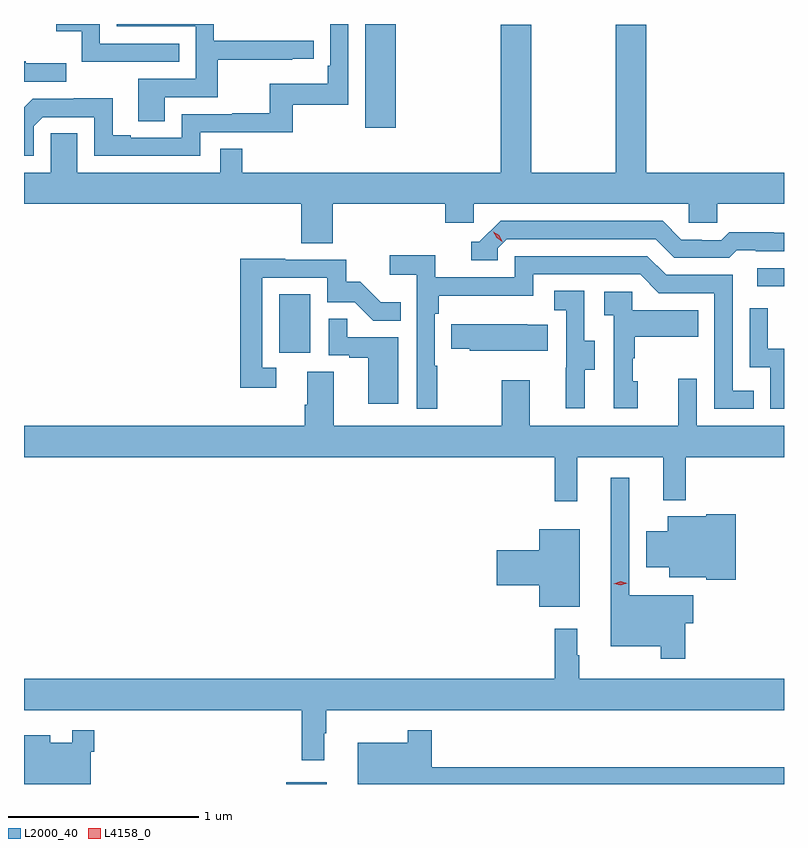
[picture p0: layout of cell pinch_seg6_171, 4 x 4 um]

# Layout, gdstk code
import gdstk
lib = gdstk.Library(unit=1e-6, precision=1e-09)
def R(c, l, rs):  # rectangles x0, y0, x1, y1
    for r in rs: c.add(gdstk.rectangle(r[:2], r[2:], *l))
def P(c, l, *ps):  # polygons
    for p in ps: c.add(gdstk.Polygon(p, *l))
L2000_40 = (2000, 40)
L4158_0 = (4158, 0)

pinch_seg6_171 = lib.new_cell('pinch_seg6_171')
R(pinch_seg6_171, L2000_40, [(1067.786,921.639,1068.001,921.649), (1067.75,923.91,1067.914,924.217), (1070.265,924.258,1070.407,924.354), (1068.203,925.092,1068.364,925.639)])
P(pinch_seg6_171, L2000_40, [(1066.458,925.101),(1066.506,925.149),(1066.776,925.149),(1066.776,924.945),(1067.334,924.945),(1067.334,925.068),(1067.821,925.068),(1067.821,925.215),(1068.114,925.215),(1068.114,925.639),(1068.018,925.639),(1068.018,925.42),(1068.005,925.42),(1068.005,925.324),(1067.7,925.324),(1067.7,925.169),(1067.503,925.169),(1067.503,925.164),(1067.238,925.164),(1067.238,925.041),(1066.969,925.041),(1066.969,925.054),(1066.873,925.054),(1066.873,925.247),(1066.668,925.247),(1066.668,925.245),(1066.452,925.245),(1066.407,925.2),(1066.407,924.945),(1066.458,924.945)],
  [(1067.149,925.254),(1067.426,925.254),(1067.426,925.45),(1067.819,925.45),(1067.819,925.455),(1067.932,925.455),(1067.932,925.551),(1067.406,925.551),(1067.406,925.639),(1066.894,925.639),(1066.894,925.626),(1067.31,925.626),(1067.31,925.35),(1067.009,925.35),(1067.009,925.126),(1067.149,925.126)],
  [(1067.225,925.536),(1066.806,925.536),(1066.806,925.639),(1066.577,925.639),(1066.577,925.601),(1066.71,925.601),(1066.71,925.44),(1067.225,925.44)],
  [(1068.032,924.692),(1068.623,924.692),(1068.623,924.594),(1068.774,924.594),(1068.774,924.692),(1069.905,924.692),(1069.905,924.594),(1070.055,924.594),(1070.055,924.692),(1070.407,924.692),(1070.407,924.856),(1069.682,924.856),(1069.682,925.636),(1069.522,925.636),(1069.522,924.856),(1069.077,924.856),(1069.077,925.636),(1068.917,925.636),(1068.917,924.856),(1067.555,924.856),(1067.555,924.983),(1067.439,924.983),(1067.439,924.856),(1066.687,924.856),(1066.687,925.064),(1066.548,925.064),(1066.548,924.856),(1066.407,924.856),(1066.407,924.692),(1067.867,924.692),(1067.867,924.484),(1068.032,924.484)],
  [(1066.63,925.432),(1066.417,925.432),(1066.417,925.444),(1066.407,925.444),(1066.407,925.335),(1066.63,925.335)],
  [(1068.9,924.459),(1068.948,924.507),(1069.731,924.507),(1069.83,924.408),(1070.119,924.408),(1070.158,924.447),(1070.257,924.447),(1070.257,924.444),(1070.407,924.444),(1070.407,924.541),(1070.352,924.541),(1070.352,924.544),(1070.119,924.544),(1070.077,924.501),(1069.974,924.501),(1069.974,924.504),(1069.867,924.504),(1069.768,924.603),(1068.915,924.603),(1068.804,924.492),(1068.761,924.492),(1068.761,924.396),(1068.9,924.396)],
  [(1068.583,923.84),(1068.57,923.84),(1068.57,924.113),(1068.59,924.113),(1068.59,924.209),(1069.086,924.209),(1069.086,924.321),(1069.65,924.321),(1069.749,924.222),(1070.04,924.222),(1070.04,923.613),(1070.249,923.613),(1070.249,923.709),(1070.136,923.709),(1070.136,924.318),(1069.786,924.318),(1069.687,924.417),(1068.99,924.417),(1068.99,924.306),(1068.572,924.306),(1068.572,924.422),(1068.333,924.422),(1068.333,924.32),(1068.474,924.32),(1068.474,923.613),(1068.583,923.613)],
  [(1067.734,923.829),(1067.661,923.829),(1067.661,924.303),(1068.003,924.303),(1068.003,924.174),(1068.147,924.174),(1068.245,924.076),(1068.389,924.076),(1068.389,924.175),(1068.285,924.175),(1068.178,924.282),(1068.102,924.282),(1068.102,924.399),(1067.783,924.399),(1067.783,924.404),(1067.545,924.404),(1067.545,923.724),(1067.734,923.724)],
  [(1069.357,923.818),(1069.411,923.818),(1069.411,923.973),(1069.356,923.973),(1069.356,924.236),(1069.197,924.236),(1069.197,924.133),(1069.26,924.133),(1069.26,923.829),(1069.259,923.829),(1069.259,923.616),(1069.357,923.616)],
  [(1069.636,923.76),(1069.611,923.76),(1069.611,923.879),(1069.621,923.879),(1069.621,923.993),(1069.955,923.993),(1069.955,924.133),(1069.608,924.133),(1069.608,924.231),(1069.461,924.231),(1069.461,924.107),(1069.512,924.107),(1069.512,923.616),(1069.636,923.616)],
  [(1070.407,923.93),(1070.322,923.93),(1070.322,924.142),(1070.226,924.142),(1070.226,923.832),(1070.334,923.832),(1070.334,923.613),(1070.407,923.613)],
  [(1068.376,923.991),(1068.107,923.991),(1068.107,924.089),(1068.012,924.089),(1068.012,923.895),(1068.119,923.895),(1068.119,923.883),(1068.218,923.883),(1068.218,923.64),(1068.376,923.64)],
  [(1069.163,924.055),(1069.055,924.055),(1069.055,924.058),(1068.655,924.058),(1068.655,923.929),(1068.753,923.929),(1068.753,923.918),(1069.163,923.918)],
  [(1069.319,923.36),(1069.772,923.36),(1069.772,923.132),(1069.889,923.132),(1069.889,923.36),(1070.407,923.36),(1070.407,923.524),(1069.947,923.524),(1069.947,923.773),(1069.85,923.773),(1069.85,923.524),(1069.069,923.524),(1069.069,923.764),(1068.922,923.764),(1068.922,923.524),(1068.037,923.524),(1068.037,923.81),(1067.897,923.81),(1067.897,923.636),(1067.885,923.636),(1067.885,923.524),(1066.407,923.524),(1066.407,923.36),(1069.201,923.36),(1069.201,923.127),(1069.319,923.127)],
  [(1069.886,922.486),(1069.93,922.486),(1069.93,922.633),(1069.593,922.633),(1069.593,923.251),(1069.496,923.251),(1069.496,922.364),(1069.758,922.364),(1069.758,922.299),(1069.886,922.299)],
  [(1070.152,923.059),(1069.998,923.059),(1069.998,923.047),(1069.796,923.047),(1069.796,922.969),(1069.682,922.969),(1069.682,922.781),(1069.802,922.781),(1069.802,922.727),(1069.998,922.727),(1069.998,922.715),(1070.152,922.715)],
  [(1069.333,922.981),(1069.118,922.981),(1069.118,922.868),(1068.894,922.868),(1068.894,922.685),(1069.118,922.685),(1069.118,922.571),(1069.333,922.571)],
  [(1067.986,921.905),(1067.998,921.905),(1067.998,922.028),(1070.407,922.028),(1070.407,922.192),(1069.33,922.192),(1069.33,922.316),(1069.318,922.316),(1069.318,922.456),(1069.201,922.456),(1069.201,922.192),(1066.407,922.192),(1066.407,922.028),(1067.869,922.028),(1067.869,921.765),(1067.986,921.765)],
  [(1070.407,921.727),(1068.554,921.727),(1068.554,921.922),(1068.426,921.922),(1068.426,921.856),(1068.164,921.856),(1068.164,921.639),(1070.407,921.639)],
  [(1066.758,921.809),(1066.778,921.809),(1066.778,921.922),(1066.662,921.922),(1066.662,921.856),(1066.546,921.856),(1066.546,921.895),(1066.407,921.895),(1066.407,921.639),(1066.758,921.639)])
P(pinch_seg6_171, L4158_0, [(1068.924,924.493),(1068.894,924.513),(1068.878,924.546),(1068.878,924.546),(1068.878,924.546),(1068.909,924.526),(1068.924,924.493),(1068.924,924.493)],
  [(1069.548,922.685),(1069.512,922.693),(1069.512,922.693),(1069.512,922.694),(1069.547,922.705),(1069.582,922.696),(1069.583,922.696),(1069.582,922.696)])

lib.write_gds('pinch_seg6_171.gds')
